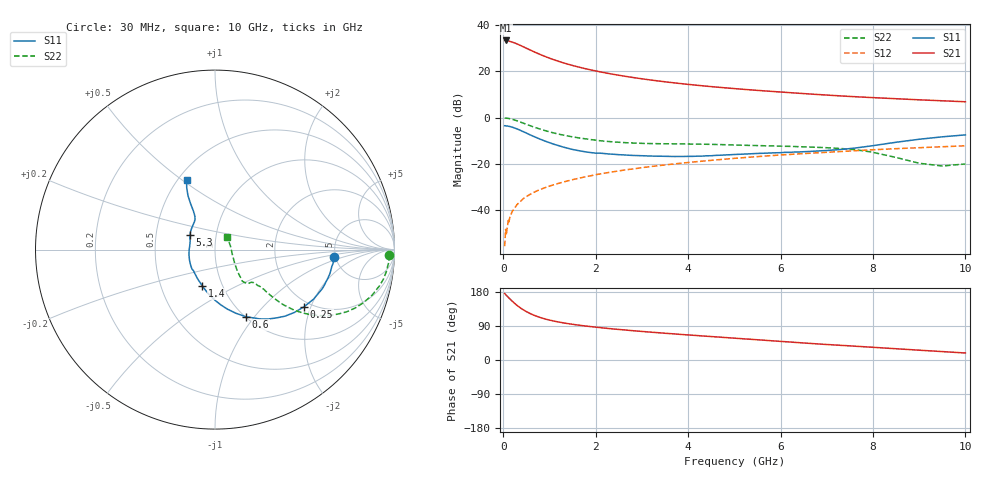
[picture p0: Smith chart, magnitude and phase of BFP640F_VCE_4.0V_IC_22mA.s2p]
! Infineon Technologies  Discrete & RF Semiconductors
! BFP640F
! VCE =  4.0 V,  IC =  22 mA
! Common Emitter S-Parameters:  Apr 2013
# GHz  S  MA  R  50
!  f  S11  S21  S12  S22
! GHz  MAG  ANG  MAG  ANG  MAG  ANG  MAG  ANG
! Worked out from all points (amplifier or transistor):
!   99 points, 30 MHz to 10 GHz, reference 50 ohm
!   highest |S21| = 33.5 dB at 50 MHz (marker M1)
!   |S21| within 3 dB of that: start of sweep to 460.4 MHz
!   unconditionally stable (mu >= 1): 2.131 GHz to end of sweep
!   at 350 MHz: K = 0.40, MSG = 34.2 dB, |S12| = -37.0 dB
!   at 3.5 GHz: K = 1.06, MAG = 16.6 dB, |S12| = -20.6 dB
!   at 10 GHz: K = 1.05, MAG = 8.2 dB, |S12| = -12.3 dB
!   S11 on the Smith chart (normalised r, x): 30 MHz: 4.81, -0.73; 250 MHz: 1.84, -1.80; 600 MHz: 1.01, -0.91; 1.4 GHz: 0.80, -0.34; 5.3 GHz: 0.75, +0.13; 10 GHz: 0.55, +0.52
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0.03  0.6627 -3.7  47.07 175.5  0.0016 65.9  0.9686 -1.8
0.05  0.6626 -6.7  47.24 173.1  0.0037 71.3  0.9734 -3.8
0.06  0.6577 -8.1  47 171.5  0.0035 75.2  0.9695 -4.6
0.14  0.6386 -19.0  45.16 161.6  0.0066 75.0  0.9433 -11.6
0.2  0.6146 -26.7  43.37 154.6  0.0093 76.0  0.9113 -16.2
0.25  0.59 -32.6  41.57 149.1  0.0108 77.1  0.8792 -19.6
0.3  0.564 -38.4  39.7 144.0  0.0129 74.7  0.8463 -22.6
0.4  0.51 -48.4  35.76 135.1  0.016 73.0  0.7761 -27.5
0.5  0.4592 -57.2  32.04 127.8  0.0191 70.6  0.7123 -31.2
0.6  0.4121 -65.2  28.78 121.5  0.0219 69.6  0.6548 -33.9
0.7  0.3729 -71.9  25.88 116.5  0.0247 69.0  0.6035 -35.8
0.9  0.3085 -84.2  21.31 108.5  0.0298 68.7  0.521 -38.2
1.1  0.2618 -94.9  17.95 102.6  0.0347 68.3  0.4597 -39.2
1.4  0.2145 -109.4  14.41 96.0  0.0421 67.6  0.3957 -39.5
1.7  0.1853 -123.0  12.01 90.9  0.0494 67.2  0.3522 -39.1
2.4  0.1586 -150.7  8.621 81.7  0.0666 65.2  0.2945 -40.3
3.4  0.1442 -179.0  6.142 71.6  0.0908 61.2  0.2692 -43.0
5.1  0.1585 151.4  4.173 56.8  0.1318 53.2  0.2514 -47.6
5.3  0.1617 148.8  4.024 55.1  0.1366 52.2  0.248 -47.9
6.7  0.1847 131.0  3.213 43.3  0.1687 44.7  0.2267 -49.0
8.5  0.2899 118.0  2.559 29.7  0.2103 34.8  0.1356 -35.5
10  0.4196 112.1  2.199 18.5  0.2426 26.2  0.0979 46.5
